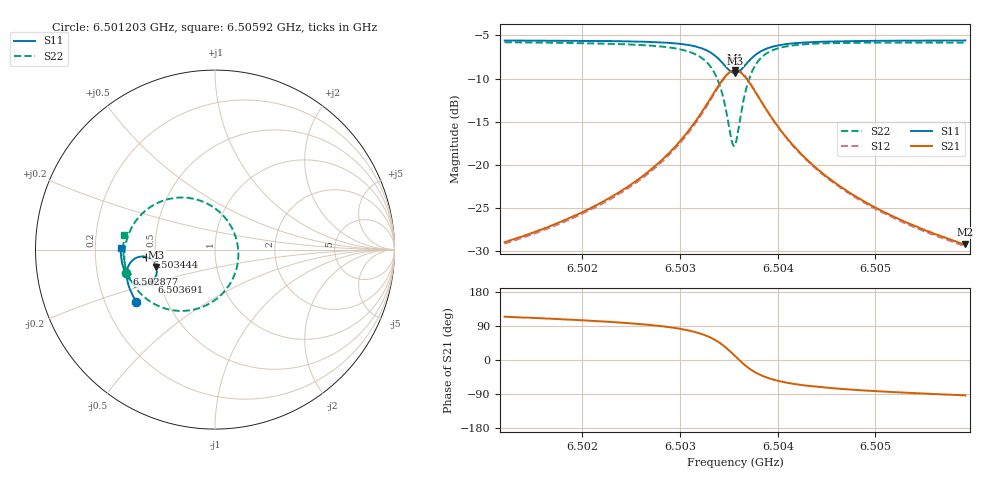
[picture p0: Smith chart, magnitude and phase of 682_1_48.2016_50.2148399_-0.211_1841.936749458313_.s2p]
#  HZ  S  RI  R  50.00
! Rohde & Schwarz Vector Network Analyzer
! Rohde-Schwarz,ZNB20-2Port,1311601062101988,3.16
! Created: UTC 3/20/2024, 12:06:40 PM
! freq[Hz]  re:S11  im:S11  re:S21  im:S21  re:S12  im:S12  re:S22  im:S22
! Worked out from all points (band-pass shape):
!   401 points, 6.501203 GHz to 6.50592 GHz, reference 50 ohm
!   highest |S21| = -9.04 dB at 6.503561 GHz (marker M1); lowest = -29.2 dB at 6.50592 GHz (marker M2)
!   |S21| within 3 dB of the highest: 6.503325 GHz to 6.503796 GHz (471.4 kHz wide, 0.00725 % of centre)
!   lowest |S11| = -9.4 dB at 6.503561 GHz (marker M3), VSWR 2.03, Z = 25 - j5.45 ohm
!   |S11| at or under -10 dB: nowhere
!   |S22| runs from -17.8 to -5.8 dB; largest |S21 - S12| = 0.014
!   S11 on the Smith chart (normalised r, x): 6.501203 GHz: 0.34, -0.27; 6.502877 GHz: 0.33, -0.12; 6.503444 GHz: 0.45, -0.04; 6.503691 GHz: 0.46, -0.19; 6.50592 GHz: 0.31, +0.01
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6.5012026e9  -0.4388 -0.2897  -0.0147 0.0325  -0.0126 0.0327  -0.4959 -0.1328
6.5019928e9  -0.4706 -0.2292  -0.0136 0.0514  -0.0108 0.0508  -0.5052 -0.0449
6.5024056e9  -0.4841 -0.1913  -0.0104 0.0706  -0.00699 0.0692  -0.5003 0.0168
6.5027831e9  -0.4916 -0.1476  8.41e-05 0.1032  0.00427 0.1005  -0.4767 0.0973
6.5028774e9  -0.4918 -0.1341  0.00595 0.1158  0.0104 0.1125  -0.4637 0.1241
6.5030779e9  -0.4855 -0.0995  0.0312 0.1525  0.0358 0.1473  -0.4111 0.1951
6.5032195e9  -0.4687 -0.0691  0.0734 0.1874  0.0771 0.1807  -0.3299 0.255
6.5033492e9  -0.4305 -0.0425  0.1543 0.2134  0.156 0.2058  -0.183 0.2902
6.5034436e9  -0.3817 -0.0411  0.2496 0.1943  0.2507 0.1882  -0.0177 0.242
6.5035261e9  -0.3376 -0.0729  0.3301 0.1151  0.3332 0.1087  0.11 0.0855
6.5035615e9  -0.3268 -0.0964  0.3475 0.0639  0.3516 0.0562  0.13 -0.0106
6.5035851e9  -0.3241 -0.1136  0.3504 0.0278  0.3546 0.0186  0.1261 -0.0769
6.5036205e9  -0.3268 -0.1387  0.3418 -0.0242  0.3451 -0.0358  0.0957 -0.1694
6.5036912e9  -0.3507 -0.1771  0.2917 -0.1026  0.2908 -0.1166  -0.0214 -0.2956
6.5037856e9  -0.3934 -0.1969  0.2099 -0.1463  0.2036 -0.1582  -0.1879 -0.3417
6.5038564e9  -0.4204 -0.1966  0.1605 -0.1511  0.1524 -0.1602  -0.2798 -0.3276
6.5039389e9  -0.4442 -0.1891  0.1186 -0.1444  0.1101 -0.1508  -0.3531 -0.2944
6.5041041e9  -0.4737 -0.1676  0.0693 -0.1223  0.0616 -0.1251  -0.4332 -0.2245
6.5043517e9  -0.4964 -0.1363  0.0354 -0.0942  0.0297 -0.0948  -0.4818 -0.1444
6.5047056e9  -0.5118 -0.0978  0.0155 -0.0691  0.0115 -0.0688  -0.5048 -0.0678
6.505142e9  -0.5209 -0.0561  0.00542 -0.0513  0.00256 -0.0506  -0.5114 -0.00206
6.5059204e9  -0.5258 0.0106  -0.00214 -0.0346  -0.00364 -0.0337  -0.5044 0.084
